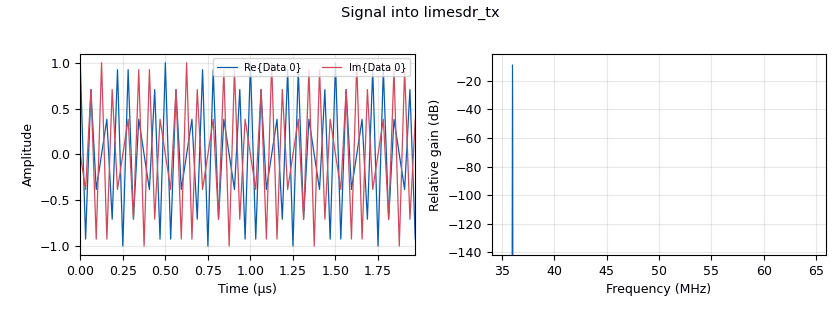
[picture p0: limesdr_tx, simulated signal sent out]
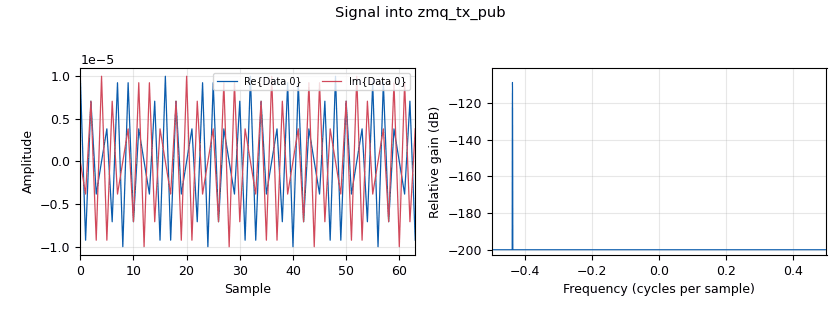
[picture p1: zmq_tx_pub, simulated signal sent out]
<?xml version='1.0' encoding='utf-8'?>
<?grc format='1' created='3.7.11'?>
<flow_graph>
<block>
<key>options</key>
<param><key>id</key><value>limesdr_frontend</value></param>
<param><key>author</key><value>Hans Erik Fjeld</value></param>
<param><key>description</key><value>For antenna measurement analysis</value></param>
<param><key>generate_options</key><value>no_gui</value></param>
<param><key>title</key><value>Antenna Sweep module</value></param>
</block>
<block>
<key>variable_qtgui_range</key>
<param><key>id</key><value>freq</value></param>
<param><key>value</key><value>100e6</value></param>
<param><key>_enabled</key><value>0</value></param>
<param><key>orient</key><value>Qt.Horizontal</value></param>
<param><key>start</key><value>50e6</value></param>
<param><key>step</key><value>32e6</value></param>
<param><key>stop</key><value>2000e6</value></param>
</block>
<block>
<key>variable</key>
<param><key>id</key><value>freq</value></param>
<param><key>value</key><value>50e6</value></param>
</block>
<block>
<key>variable_qtgui_range</key>
<param><key>id</key><value>gain_rx</value></param>
<param><key>value</key><value>10</value></param>
<param><key>_enabled</key><value>0</value></param>
<param><key>orient</key><value>Qt.Horizontal</value></param>
<param><key>start</key><value>0</value></param>
<param><key>step</key><value>1</value></param>
<param><key>stop</key><value>60</value></param>
<param><key>rangeType</key><value>int</value></param>
</block>
<block>
<key>variable</key>
<param><key>id</key><value>gain_rx</value></param>
<param><key>value</key><value>int(10)</value></param>
</block>
<block>
<key>variable_qtgui_range</key>
<param><key>id</key><value>gain_tx</value></param>
<param><key>value</key><value>10</value></param>
<param><key>_enabled</key><value>0</value></param>
<param><key>orient</key><value>Qt.Horizontal</value></param>
<param><key>start</key><value>0</value></param>
<param><key>step</key><value>1</value></param>
<param><key>stop</key><value>60</value></param>
<param><key>rangeType</key><value>int</value></param>
</block>
<block>
<key>variable</key>
<param><key>id</key><value>gain_tx</value></param>
<param><key>value</key><value>int(10)</value></param>
</block>
<block>
<key>variable_qtgui_range</key>
<param><key>id</key><value>input_scale</value></param>
<param><key>value</key><value>0.001</value></param>
<param><key>_enabled</key><value>0</value></param>
<param><key>label</key><value>Scale input</value></param>
<param><key>orient</key><value>Qt.Horizontal</value></param>
<param><key>start</key><value>1e-5</value></param>
<param><key>step</key><value>1e-5</value></param>
<param><key>stop</key><value>1</value></param>
</block>
<block>
<key>variable</key>
<param><key>id</key><value>input_scale</value></param>
<param><key>value</key><value>1e-5</value></param>
</block>
<block>
<key>variable</key>
<param><key>id</key><value>samp_rate</value></param>
<param><key>value</key><value>32e6</value></param>
</block>
<block>
<key>variable</key>
<param><key>id</key><value>step_size</value></param>
<param><key>value</key><value>samp_rate/2 - trans_width</value></param>
</block>
<block>
<key>variable_qtgui_range</key>
<param><key>id</key><value>sweep_tone</value></param>
<param><key>value</key><value>0</value></param>
<param><key>_enabled</key><value>0</value></param>
<param><key>orient</key><value>Qt.Horizontal</value></param>
<param><key>start</key><value>-step_size/2</value></param>
<param><key>step</key><value>100e3</value></param>
<param><key>stop</key><value>step_size/2</value></param>
</block>
<block>
<key>variable</key>
<param><key>id</key><value>sweep_tone</value></param>
<param><key>value</key><value>0</value></param>
</block>
<block>
<key>variable</key>
<param><key>id</key><value>trans_width</value></param>
<param><key>value</key><value>500e3</value></param>
</block>
<block>
<key>analog_const_source_x</key>
<param><key>id</key><value>input_scale_source</value></param>
<param><key>const</key><value>input_scale</value></param>
<param><key>type</key><value>complex</value></param>
</block>
<block>
<key>limesdr_source</key>
<param><key>id</key><value>limesdr_rx</value></param>
<param><key>allow_tcxo_dac</key><value>0</value></param>
<param><key>analog_bandw_ch0</key><value>step_size</value></param>
<param><key>calibr_bandw_ch0</key><value>step_size</value></param>
<param><key>digital_bandw_ch0</key><value>step_size</value></param>
<param><key>gain_dB_ch0</key><value>30</value></param>
<param><key>analog_bandw_ch1</key><value>5e6</value></param>
<param><key>calibr_bandw_ch1</key><value>5e6</value></param>
<param><key>digital_bandw_ch1</key><value>0</value></param>
<param><key>gain_dB_ch1</key><value>30</value></param>
<param><key>channel_mode</key><value>0</value></param>
<param><key>oversample</key><value>0</value></param>
<param><key>rf_freq</key><value>freq</value></param>
<param><key>samp_rate</key><value>samp_rate</value></param>
<param><key>dacVal</key><value>125</value></param>
</block>
<block>
<key>limesdr_sink</key>
<param><key>id</key><value>limesdr_tx</value></param>
<param><key>allow_tcxo_dac</key><value>0</value></param>
<param><key>analog_bandw_ch0</key><value>step_size</value></param>
<param><key>calibr_bandw_ch0</key><value>step_size</value></param>
<param><key>digital_bandw_ch0</key><value>step_size</value></param>
<param><key>gain_dB_ch0</key><value>gain_rx</value></param>
<param><key>calibr_bandw_ch1</key><value>5e6</value></param>
<param><key>digital_bandw_ch1</key><value>0</value></param>
<param><key>gain_dB_ch1</key><value>30</value></param>
<param><key>pa_path_ch1</key><value>1</value></param>
<param><key>channel_mode</key><value>0</value></param>
<param><key>oversample</key><value>0</value></param>
<param><key>rf_freq</key><value>freq</value></param>
<param><key>samp_rate</key><value>samp_rate</value></param>
<param><key>dacVal</key><value>125</value></param>
</block>
<block>
<key>analog_sig_source_x</key>
<param><key>id</key><value>lo_input</value></param>
<param><key>amp</key><value>1</value></param>
<param><key>freq</key><value>freq + sweep_tone</value></param>
<param><key>offset</key><value>0</value></param>
<param><key>type</key><value>complex</value></param>
<param><key>samp_rate</key><value>samp_rate</value></param>
<param><key>waveform</key><value>analog.GR_COS_WAVE</value></param>
</block>
<block>
<key>blocks_multiply_xx</key>
<param><key>id</key><value>scale_tx</value></param>
<param><key>type</key><value>complex</value></param>
</block>
<block>
<key>qtgui_tab_widget</key>
<param><key>id</key><value>tab</value></param>
<param><key>_enabled</key><value>0</value></param>
<param><key>label0</key><value>Time</value></param>
<param><key>label1</key><value>Frequency</value></param>
<param><key>num_tabs</key><value>2</value></param>
</block>
<block>
<key>zeromq_pub_sink</key>
<param><key>id</key><value>zmq_rx_pub</value></param>
<param><key>address</key><value>tcp://127.0.0.1:5001</value></param>
<param><key>type</key><value>complex</value></param>
<param><key>pass_tags</key><value>True</value></param>
<param><key>timeout</key><value>100</value></param>
</block>
<block>
<key>zeromq_pub_sink</key>
<param><key>id</key><value>zmq_tx_pub</value></param>
<param><key>address</key><value>tcp://127.0.0.1:5000</value></param>
<param><key>type</key><value>complex</value></param>
<param><key>pass_tags</key><value>True</value></param>
<param><key>timeout</key><value>100</value></param>
</block>
<connection><source_block_id>input_scale_source</source_block_id><sink_block_id>scale_tx</sink_block_id><source_key>0</source_key><sink_key>0</sink_key></connection>
<connection><source_block_id>limesdr_rx</source_block_id><sink_block_id>zmq_rx_pub</sink_block_id><source_key>0</source_key><sink_key>0</sink_key></connection>
<connection><source_block_id>lo_input</source_block_id><sink_block_id>limesdr_tx</sink_block_id><source_key>0</source_key><sink_key>0</sink_key></connection>
<connection><source_block_id>lo_input</source_block_id><sink_block_id>scale_tx</sink_block_id><source_key>0</source_key><sink_key>1</sink_key></connection>
<connection><source_block_id>scale_tx</source_block_id><sink_block_id>zmq_tx_pub</sink_block_id><source_key>0</source_key><sink_key>0</sink_key></connection>
</flow_graph>
